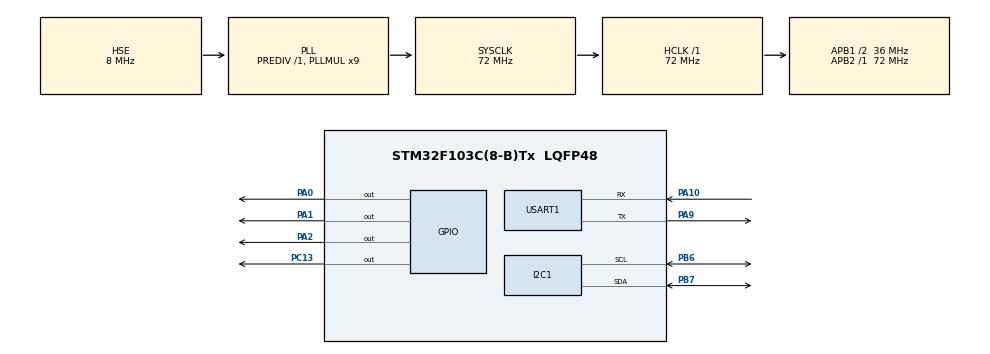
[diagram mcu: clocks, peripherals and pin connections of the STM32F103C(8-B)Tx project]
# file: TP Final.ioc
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I2C1.I2C_Mode=I2C_Fast
Mcu.Family=STM32F1
Mcu.Name=STM32F103C(8-B)Tx
Mcu.Package=LQFP48
NVIC.PriorityGroup=NVIC_PRIORITYGROUP_4
PA0-WKUP.Signal=GPIO_Output
PA1.Signal=GPIO_Output
PA10.Mode=Asynchronous
PA10.Signal=USART1_RX
PA13.Mode=Serial_Wire
PA13.Signal=SYS_JTMS-SWDIO
PA14.Mode=Serial_Wire
PA14.Signal=SYS_JTCK-SWCLK
PA2.Signal=GPIO_Output
PA9.Mode=Asynchronous
PA9.Signal=USART1_TX
PB6.Mode=I2C
PB6.Signal=I2C1_SCL
PB7.Mode=I2C
PB7.Signal=I2C1_SDA
PC13-TAMPER-RTC.PinState=GPIO_PIN_SET
PC13-TAMPER-RTC.Signal=GPIO_Output
PD0-OSC_IN.Mode=HSE-External-Oscillator
PD0-OSC_IN.Signal=RCC_OSC_IN
PD1-OSC_OUT.Mode=HSE-External-Oscillator
PD1-OSC_OUT.Signal=RCC_OSC_OUT
ProjectManager.HeapSize=0x200
ProjectManager.StackSize=0x400
ProjectManager.TargetToolchain=STM32CubeIDE
RCC.AHBFreq_Value=72000000
RCC.APB1CLKDivider=RCC_HCLK_DIV2
RCC.APB1Freq_Value=36000000
RCC.APB1TimFreq_Value=72000000
RCC.APB2Freq_Value=72000000
RCC.APB2TimFreq_Value=72000000
RCC.HCLKFreq_Value=72000000
RCC.PLLMUL=RCC_PLL_MUL9
RCC.PLLSourceVirtual=RCC_PLLSOURCE_HSE
RCC.SYSCLKFreq_VALUE=72000000
RCC.SYSCLKSource=RCC_SYSCLKSOURCE_PLLCLK
RCC.USBFreq_Value=48000000
RCC.USBPrescaler=RCC_USBCLKSOURCE_PLL_DIV1_5
TIM1.Period=0xffff-1
TIM1.Prescaler=72-1
USART1.VirtualMode=VM_ASYNC
VP_TIM1_VS_ClockSourceINT.Mode=Internal
board=custom

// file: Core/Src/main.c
/* USER CODE BEGIN Header */
/**
  ******************************************************************************
  * @file           : main.c
  * @brief          : Main program body
  ******************************************************************************
  * @attention
  *
  * <h2><center>&copy; Copyright (c) 2019 STMicroelectronics.
  * All rights reserved.</center></h2>
  *
  * This software component is licensed by ST under BSD 3-Clause license,
  * the "License"; You may not use this file except in compliance with the
  * License. You may obtain a copy of the License at:
  *                        opensource.org/licenses/BSD-3-Clause
  *
  ******************************************************************************
  */
/* USER CODE END Header */
#include "main.h"

/* USER CODE BEGIN Includes */

#include "includes.h"

/* USER CODE END Includes */

/* USER CODE BEGIN PD */
//#warning "Modify this value to match the number of external interrupts in your MCU"
#define EXT_INT_MAX_NBR 16u

/* USER CODE END PD */

I2C_HandleTypeDef hi2c1;

TIM_HandleTypeDef htim1;

UART_HandleTypeDef huart1;

/* USER CODE BEGIN PV */

BOOLEAN	Led;				// estado del LED pin
INT8U	CtxPerSec = 0;		// Cambios de contexto por segundo
char	ErrStr[35] = "";	// Str para debug de errores en eventos o funciones

/* USER CODE END PV */

void SystemClock_Config(void);
static void MX_GPIO_Init(void);
static void MX_I2C1_Init(void);
static void MX_TIM1_Init(void);
static void MX_USART1_UART_Init(void);

int main(void)
{
  /* USER CODE BEGIN 1 */
#if (OS_TASK_NAME_EN > 0u)
CPU_INT08U os_err;
#endif
CPU_INT16U int_id;
  /* USER CODE END 1 */

  /* MCU Configuration--------------------------------------------------------*/

  /* Reset of all peripherals, Initializes the Flash interface and the Systick. */
  HAL_Init();

  /* USER CODE BEGIN Init */
  CPU_IntDis();
  for (int_id = CPU_INT_EXT0; int_id <= (EXT_INT_MAX_NBR - 1u); int_id++)
  {
  /* Set all external intr. to KA interrupt priority boundary */
  CPU_IntSrcPrioSet(int_id, CPU_CFG_KA_IPL_BOUNDARY, CPU_INT_KA);
  }
  /* USER CODE END Init */

  /* Configure the system clock */
  SystemClock_Config();

  /* Initialize all configured peripherals */
  MX_GPIO_Init();
  MX_I2C1_Init();
  MX_TIM1_Init();
  MX_USART1_UART_Init();
  /* USER CODE BEGIN 2 */

  OSInit();
  os_err = OSTaskCreateExt( (void (*)(void *)) StartupTask,
  		  	  	  	 	 	 (void			*) 0,
  							 (OS_STK		*) &StartupTaskStk[APP_CFG_STARTUP_TASK_STK_SIZE - 1],
  							 (INT8U			 ) APP_CFG_STARTUP_TASK_PRIO,
  							 (INT16U		 ) APP_CFG_STARTUP_TASK_PRIO,
  							 (OS_STK		*) &StartupTaskStk[0],
  					 	 	 (INT32U		 ) APP_CFG_STARTUP_TASK_STK_SIZE,
  							 (void			*) 0,
  							 (INT16U		 ) (OS_TASK_OPT_STK_CHK | OS_TASK_OPT_STK_CLR));

  #if (OS_TASK_NAME_EN > 0u)
   OSTaskNameSet( APP_CFG_STARTUP_TASK_PRIO, (INT8U *)"Startup task", &os_err);
  #endif

  OSStart();
  /* USER CODE END 2 */

  /* Infinite loop */
  while (1)
  {

  }
}

void SystemClock_Config(void)
{
  RCC_OscInitTypeDef RCC_OscInitStruct = {0};
  RCC_ClkInitTypeDef RCC_ClkInitStruct = {0};

  /** Initializes the RCC Oscillators according to the specified parameters
  * in the RCC_OscInitTypeDef structure.
  */
  RCC_OscInitStruct.OscillatorType = RCC_OSCILLATORTYPE_HSE;
  RCC_OscInitStruct.HSEState = RCC_HSE_ON;
  RCC_OscInitStruct.HSEPredivValue = RCC_HSE_PREDIV_DIV1;
  RCC_OscInitStruct.HSIState = RCC_HSI_ON;
  RCC_OscInitStruct.PLL.PLLState = RCC_PLL_ON;
  RCC_OscInitStruct.PLL.PLLSource = RCC_PLLSOURCE_HSE;
  RCC_OscInitStruct.PLL.PLLMUL = RCC_PLL_MUL9;
  if (HAL_RCC_OscConfig(&RCC_OscInitStruct) != HAL_OK)
  {
    Error_Handler();
  }
  /** Initializes the CPU, AHB and APB buses clocks
  */
  RCC_ClkInitStruct.ClockType = RCC_CLOCKTYPE_HCLK|RCC_CLOCKTYPE_SYSCLK
                              |RCC_CLOCKTYPE_PCLK1|RCC_CLOCKTYPE_PCLK2;
  RCC_ClkInitStruct.SYSCLKSource = RCC_SYSCLKSOURCE_PLLCLK;
  RCC_ClkInitStruct.AHBCLKDivider = RCC_SYSCLK_DIV1;
  RCC_ClkInitStruct.APB1CLKDivider = RCC_HCLK_DIV2;
  RCC_ClkInitStruct.APB2CLKDivider = RCC_HCLK_DIV1;

  if (HAL_RCC_ClockConfig(&RCC_ClkInitStruct, FLASH_LATENCY_2) != HAL_OK)
  {
    Error_Handler();
  }
}

static void MX_I2C1_Init(void)
{

  hi2c1.Instance = I2C1;
  hi2c1.Init.ClockSpeed = 400000;
  hi2c1.Init.DutyCycle = I2C_DUTYCYCLE_2;
  hi2c1.Init.OwnAddress1 = 0;
  hi2c1.Init.AddressingMode = I2C_ADDRESSINGMODE_7BIT;
  hi2c1.Init.DualAddressMode = I2C_DUALADDRESS_DISABLE;
  hi2c1.Init.OwnAddress2 = 0;
  hi2c1.Init.GeneralCallMode = I2C_GENERALCALL_DISABLE;
  hi2c1.Init.NoStretchMode = I2C_NOSTRETCH_DISABLE;
  if (HAL_I2C_Init(&hi2c1) != HAL_OK)
  {
    Error_Handler();
  }

}

static void MX_TIM1_Init(void)
{

  TIM_ClockConfigTypeDef sClockSourceConfig = {0};
  TIM_MasterConfigTypeDef sMasterConfig = {0};

  htim1.Instance = TIM1;
  htim1.Init.Prescaler = 72-1;
  htim1.Init.CounterMode = TIM_COUNTERMODE_UP;
  htim1.Init.Period = 0xffff-1;
  htim1.Init.ClockDivision = TIM_CLOCKDIVISION_DIV1;
  htim1.Init.RepetitionCounter = 0;
  htim1.Init.AutoReloadPreload = TIM_AUTORELOAD_PRELOAD_DISABLE;
  if (HAL_TIM_Base_Init(&htim1) != HAL_OK)
  {
    Error_Handler();
  }
  sClockSourceConfig.ClockSource = TIM_CLOCKSOURCE_INTERNAL;
  if (HAL_TIM_ConfigClockSource(&htim1, &sClockSourceConfig) != HAL_OK)
  {
    Error_Handler();
  }
  sMasterConfig.MasterOutputTrigger = TIM_TRGO_RESET;
  sMasterConfig.MasterSlaveMode = TIM_MASTERSLAVEMODE_DISABLE;
  if (HAL_TIMEx_MasterConfigSynchronization(&htim1, &sMasterConfig) != HAL_OK)
  {
    Error_Handler();
  }

}

static void MX_USART1_UART_Init(void)
{

  huart1.Instance = USART1;
  huart1.Init.BaudRate = 115200;
  huart1.Init.WordLength = UART_WORDLENGTH_8B;
  huart1.Init.StopBits = UART_STOPBITS_1;
  huart1.Init.Parity = UART_PARITY_NONE;
  huart1.Init.Mode = UART_MODE_TX_RX;
  huart1.Init.HwFlowCtl = UART_HWCONTROL_NONE;
  huart1.Init.OverSampling = UART_OVERSAMPLING_16;
  if (HAL_UART_Init(&huart1) != HAL_OK)
  {
    Error_Handler();
  }

}

static void MX_GPIO_Init(void)
{
  GPIO_InitTypeDef GPIO_InitStruct = {0};

  /* GPIO Ports Clock Enable */
  __HAL_RCC_GPIOC_CLK_ENABLE();
  __HAL_RCC_GPIOD_CLK_ENABLE();
  __HAL_RCC_GPIOA_CLK_ENABLE();
  __HAL_RCC_GPIOB_CLK_ENABLE();

  /*Configure GPIO pin Output Level */
  HAL_GPIO_WritePin(GPIOC, GPIO_PIN_13, GPIO_PIN_SET);

  /*Configure GPIO pin Output Level */
  HAL_GPIO_WritePin(GPIOA, GPIO_PIN_0|GPIO_PIN_1|GPIO_PIN_2, GPIO_PIN_RESET);

  /*Configure GPIO pin : PC13 */
  GPIO_InitStruct.Pin = GPIO_PIN_13;
  GPIO_InitStruct.Mode = GPIO_MODE_OUTPUT_PP;
  GPIO_InitStruct.Pull = GPIO_NOPULL;
  GPIO_InitStruct.Speed = GPIO_SPEED_FREQ_LOW;
  HAL_GPIO_Init(GPIOC, &GPIO_InitStruct);

  /*Configure GPIO pins : PA0 PA1 PA2 */
  GPIO_InitStruct.Pin = GPIO_PIN_0|GPIO_PIN_1|GPIO_PIN_2;
  GPIO_InitStruct.Mode = GPIO_MODE_OUTPUT_PP;
  GPIO_InitStruct.Pull = GPIO_NOPULL;
  GPIO_InitStruct.Speed = GPIO_SPEED_FREQ_LOW;
  HAL_GPIO_Init(GPIOA, &GPIO_InitStruct);

}

/* USER CODE BEGIN 4 */
/*
*************************************************************************
* STM32Cube HAL FUNCTIONS
*************************************************************************
*/
HAL_StatusTypeDef HAL_InitTick(uint32_t TickPriority)
{
/* define as empty to prevent the system tick being initialized before
    the OS starts */
 return (HAL_OK);
}

uint32_t HAL_GetTick(void)
{
 CPU_INT32U os_tick_ctr;

 #if (OS_VERSION >= 30000u)
  OS_ERR os_err;
  os_tick_ctr = OSTimeGet(&os_err);
 #else
  os_tick_ctr = OSTimeGet();
 #endif

 return os_tick_ctr;
}

/* USER CODE END 4 */

void Error_Handler(void)
{
}

/************************ (C) COPYRIGHT STMicroelectronics *****END OF FILE****/
